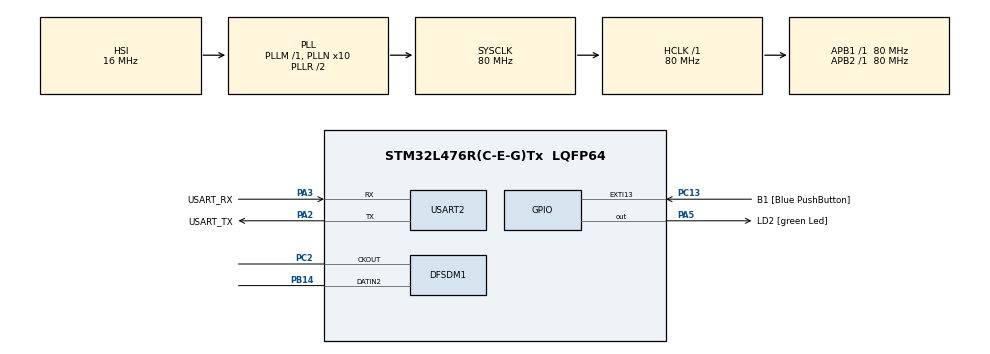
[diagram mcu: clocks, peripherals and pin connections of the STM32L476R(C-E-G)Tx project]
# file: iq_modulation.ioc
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DFSDM1.Divider=25
DFSDM1.DmaMode_reg_FIL0=ENABLE
DFSDM1.FastMode_reg_FIL0=ENABLE
DFSDM1.Filter_regChannel_FIL0=DFSDM_CHANNEL_2
DFSDM1.Filter_regChannel_FIL1=__NULL
DFSDM1.Filter_regChannel_FIL2=__NULL
DFSDM1.Fosr_FIL0=32
DFSDM1.Iosr_FIL0=1
DFSDM1.Offset_CH2=0
DFSDM1.Oversampling_CH2=10
DFSDM1.RightBitShift_CH2=0x2
DFSDM1.SincOrder_FIL0=DFSDM_FILTER_SINC5_ORDER
Dma.DFSDM1_FLT0.0.Direction=DMA_PERIPH_TO_MEMORY
Dma.DFSDM1_FLT0.0.Instance=DMA1_Channel4
Dma.DFSDM1_FLT0.0.MemDataAlignment=DMA_MDATAALIGN_WORD
Dma.DFSDM1_FLT0.0.MemInc=DMA_MINC_ENABLE
Dma.DFSDM1_FLT0.0.Mode=DMA_CIRCULAR
Dma.DFSDM1_FLT0.0.PeriphDataAlignment=DMA_PDATAALIGN_WORD
Dma.DFSDM1_FLT0.0.PeriphInc=DMA_PINC_DISABLE
Dma.DFSDM1_FLT0.0.Priority=DMA_PRIORITY_MEDIUM
Dma.Request0=DFSDM1_FLT0
Mcu.Family=STM32L4
Mcu.Name=STM32L476R(C-E-G)Tx
Mcu.Package=LQFP64
NVIC.DMA1_Channel4_IRQn=true\:0\:0\:true\:false\:true\:false
NVIC.EXTI15_10_IRQn=true\:0\:0\:false\:false\:true\:true
NVIC.PriorityGroup=NVIC_PRIORITYGROUP_4
NVIC.USART2_IRQn=true\:0\:0\:false\:false\:true\:true
PA13\ (JTMS-SWDIO).GPIO_Label=TMS
PA13\ (JTMS-SWDIO).Mode=Serial_Wire
PA13\ (JTMS-SWDIO).Signal=SYS_JTMS-SWDIO
PA14\ (JTCK-SWCLK).GPIO_Label=TCK
PA14\ (JTCK-SWCLK).Mode=Serial_Wire
PA14\ (JTCK-SWCLK).Signal=SYS_JTCK-SWCLK
PA2.GPIO_Label=USART_TX
PA2.GPIO_Mode=GPIO_MODE_AF_PP
PA2.GPIO_PuPd=GPIO_NOPULL
PA2.GPIO_Speed=GPIO_SPEED_FREQ_VERY_HIGH
PA2.Mode=Asynchronous
PA2.Signal=USART2_TX
PA3.GPIO_Label=USART_RX
PA3.GPIO_Mode=GPIO_MODE_AF_PP
PA3.GPIO_PuPd=GPIO_NOPULL
PA3.GPIO_Speed=GPIO_SPEED_FREQ_VERY_HIGH
PA3.Mode=Asynchronous
PA3.Signal=USART2_RX
PA5.GPIO_Label=LD2 [green Led]
PA5.GPIO_ModeDefaultOutputPP=GPIO_MODE_OUTPUT_PP
PA5.GPIO_PuPd=GPIO_NOPULL
PA5.GPIO_Speed=GPIO_SPEED_FREQ_LOW
PA5.Signal=GPIO_Output
PB14.Signal=S_DATAIN2DFSDM1
PB3\ (JTDO-TRACESWO).GPIO_Label=SWO
PB3\ (JTDO-TRACESWO).Signal=SYS_JTDO-SWO
PC13.GPIO_Label=B1 [Blue PushButton]
PC13.GPIO_ModeDefaultEXTI=GPIO_MODE_IT_FALLING
PC13.GPIO_PuPd=GPIO_NOPULL
PC13.Signal=GPXTI13
PC2.Signal=S_CKOUTDFSDM1
ProjectManager.HeapSize=0x200
ProjectManager.StackSize=0x400
ProjectManager.TargetToolchain=TrueSTUDIO
RCC.ADCFreq_Value=64000000
RCC.AHBFreq_Value=80000000
RCC.APB1Freq_Value=80000000
RCC.APB1TimFreq_Value=80000000
RCC.APB2Freq_Value=80000000
RCC.APB2TimFreq_Value=80000000
RCC.CortexFreq_Value=80000000
RCC.HCLKFreq_Value=80000000
RCC.HSE_VALUE=8000000
RCC.HSI_VALUE=16000000
RCC.LSE_VALUE=32768
RCC.MSI_VALUE=4000000
RCC.PLLN=10
RCC.PLLSourceVirtual=RCC_PLLSOURCE_HSI
RCC.PREFETCH_ENABLE=1
RCC.SYSCLKFreq_VALUE=80000000
RCC.SYSCLKSource=RCC_SYSCLKSOURCE_PLLCLK
RCC.USBFreq_Value=64000000
RCC.VCOOutputFreq_Value=160000000
SH.S_CKOUTDFSDM1.0=DFSDM1_CKOUT,PDM_SPI_input_from_ch2_and_internal_clock
SH.S_CKOUTDFSDM1.1=DFSDM1_CKOUT,CKOUT
SH.S_DATAIN2DFSDM1.0=DFSDM1_DATIN2,PDM_SPI_input_from_ch2_and_internal_clock
USART2.VirtualMode-Asynchronous=VM_ASYNC
USART2.WordLength=WORDLENGTH_8B
board=NUCLEO-L476RG

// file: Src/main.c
/**
  ******************************************************************************
  * @file           : main.c
  * @brief          : Main program body
  ******************************************************************************
  ** This notice applies to any and all portions of this file
  * that are not between comment pairs USER CODE BEGIN and
  * USER CODE END. Other portions of this file, whether
  * inserted by the user or by software development tools
  * are owned by their respective copyright owners.
  *
  * COPYRIGHT(c) 2018 STMicroelectronics
  *
  * Redistribution and use in source and binary forms, with or without modification,
  * are permitted provided that the following conditions are met:
  *   1. Redistributions of source code must retain the above copyright notice,
  *      this list of conditions and the following disclaimer.
  *   2. Redistributions in binary form must reproduce the above copyright notice,
  *      this list of conditions and the following disclaimer in the documentation
  *      and/or other materials provided with the distribution.
  *   3. Neither the name of STMicroelectronics nor the names of its contributors
  *      may be used to endorse or promote products derived from this software
  *      without specific prior written permission.
  *
  * THIS SOFTWARE IS PROVIDED BY THE COPYRIGHT HOLDERS AND CONTRIBUTORS "AS IS"
  * AND ANY EXPRESS OR IMPLIED WARRANTIES, INCLUDING, BUT NOT LIMITED TO, THE
  * IMPLIED WARRANTIES OF MERCHANTABILITY AND FITNESS FOR A PARTICULAR PURPOSE ARE
  * DISCLAIMED. IN NO EVENT SHALL THE COPYRIGHT HOLDER OR CONTRIBUTORS BE LIABLE
  * FOR ANY DIRECT, INDIRECT, INCIDENTAL, SPECIAL, EXEMPLARY, OR CONSEQUENTIAL
  * DAMAGES (INCLUDING, BUT NOT LIMITED TO, PROCUREMENT OF SUBSTITUTE GOODS OR
  * SERVICES; LOSS OF USE, DATA, OR PROFITS; OR BUSINESS INTERRUPTION) HOWEVER
  * CAUSED AND ON ANY THEORY OF LIABILITY, WHETHER IN CONTRACT, STRICT LIABILITY,
  * OR TORT (INCLUDING NEGLIGENCE OR OTHERWISE) ARISING IN ANY WAY OUT OF THE USE
  * OF THIS SOFTWARE, EVEN IF ADVISED OF THE POSSIBILITY OF SUCH DAMAGE.
  *
  ******************************************************************************
  */
#include "main.h"
#include "stm32l4xx_hal.h"
#include "dfsdm.h"
#include "dma.h"
#include "usart.h"
#include "gpio.h"

/* USER CODE BEGIN Includes */
#include "math.h"
#include "stdbool.h"
#include "arm_math.h"
#include "arm_const_structs.h"
#include "chirp.h"
/* USER CODE END Includes */

/* USER CODE BEGIN PV */
/* Private variables ---------------------------------------------------------*/

// flag: "new PCM data has just been copied to buf"
bool new_pcm_data = false;

// Audio sample rate and period
float sampling_rate;
float sampling_period;

// DMA peripheral to memory buffer
int32_t buf[PCM_SAMPLES] = { 0 };

// PCM data store for further processing (FFT)
float pcm[PCM_SAMPLES * 2] = { 0.0f };

// FFT-related
float fft_window[PCM_SAMPLES * 2] = { 0.0f };
const float WINDOW_SCALE = 2.0f * M_PI / (float) PCM_SAMPLES;

// UART output flag
bool output_result = false;

// UART input/output
uint8_t rxbuf[1];
bool all_data = true;

// Stats
struct history {
  float mag_max;  // Max magnitude in the bandwidth
  float mag_max_left;  // Max magnitude in the left
  float mag_max_right;  // Max magnitude in the right
  uint32_t max_freq;  // Frequency at max magnitude in the bandwidth
  uint32_t max_freq_left;   // Frequency at max magnitude in the left
  uint32_t max_freq_right;  // Frequency at max magnitude in the right
  uint32_t start_time;   // DSP start time
  uint32_t finish_time;  // DSP finish time
  float mag_mean;  // Mean magnitude in the past
  float snr;  // S/N Ratio
  char rank;  // Magnitude ranking
};

/* USER CODE END PV */

void SystemClock_Config(void);

/* USER CODE BEGIN PFP */
/* Private function prototypes -----------------------------------------------*/

/* USER CODE END PFP */

/* USER CODE BEGIN 0 */

uint32_t idx2freq(uint32_t idx) {
  return sampling_rate * idx / PCM_SAMPLES;
}

// Digital signal processing
void dsp(float *inout) {

  // Execute real up-chirp w/ real noise * complex down-chirp
  mult_ref_chirp(inout);

  // Windowing
  arm_mult_f32(inout, fft_window, inout, PCM_SAMPLES * 2);

  // Execute complex FFT
  arm_cfft_f32(&arm_cfft_sR_f32_len2048, inout, 0, 1);

  // Calculate magnitude
  arm_cmplx_mag_f32(inout, inout, PCM_SAMPLES / 2);

}
/* USER CODE END 0 */

int main(void)
{
  /* USER CODE BEGIN 1 */
  int im, re;
  int j = 0;
  int turn = 0;
  int offset, shift;

  float32_t data[PCM_SAMPLES * 2] = { 0.0f };

  // Stats-related
  struct history history[8];
  struct history *phist;
  uint32_t center;
  uint32_t bandwidth;
  uint32_t bandwidth2;
  uint32_t bandwidth4;
  uint32_t idx_left_zero;
  float mag_stat[12] = { 1E37, 1E37, 1E37, 1E37, 1E37, 1E37, 1E37, 1E37, 1E37, 1E37, 1E37, 1E37 };
  float mag_max;
  float mag_mean;
  float mag_max_max;
  float mag_max_left;
  float mag_max_right;
  uint32_t max_idx;
  uint32_t max_idx_left;
  uint32_t max_idx_right;

  // State machine
  enum state {
    IDLE,
    SYNCHRONIZING,
    SYNCHRONIZED,
    DATA_RECEIVING
  };
  enum state state_machine = IDLE;

  // Frame synchronization
  int sync_cnt = 0;
  int sync_position = 0;

  /* USER CODE END 1 */

  /* MCU Configuration----------------------------------------------------------*/

  /* Reset of all peripherals, Initializes the Flash interface and the Systick. */
  HAL_Init();

  /* Configure the system clock */
  SystemClock_Config();

  /* Initialize all configured peripherals */
  MX_GPIO_Init();
  MX_DMA_Init();
  MX_USART2_UART_Init();
  MX_DFSDM1_Init();
  /* USER CODE BEGIN 2 */

  // FFT sampling rate
  sampling_rate = SystemCoreClock / hdfsdm1_channel2.Init.OutputClock.Divider
      / hdfsdm1_filter0.Init.FilterParam.Oversampling
      / hdfsdm1_filter0.Init.FilterParam.IntOversampling;

  // Statistics-related
  center = (F1 + F2) * PCM_SAMPLES / sampling_rate;
  bandwidth = (F2 - F1) * PCM_SAMPLES / sampling_rate;
  bandwidth2 = bandwidth * 2;
  bandwidth4 = bandwidth * 4;
  idx_left_zero = center - bandwidth2;

  // Initialize reference chirp signal
  init_ref_chirp(sampling_rate);

  // Enable UART receive interrupt
  HAL_UART_Receive_IT(&huart2, rxbuf, 1);

  // Enable DMA from DFSDM to buf (peripheral to memory)
  if (HAL_DFSDM_FilterRegularStart_DMA(&hdfsdm1_filter0, buf, PCM_SAMPLES)
      != HAL_OK) {
    Error_Handler();
  }

  // Hanning window
  for (uint32_t i = 0; i < PCM_SAMPLES; i++) {
    re = i * 2;
    im = re + 1;
    fft_window[re] = 0.5f - 0.5f * arm_cos_f32((float) i * WINDOW_SCALE);
    fft_window[im] = fft_window[re];
  }

  // Show starting message
  printf("/// Receiver ///\n\n");
  printf("Sampling rate: %4.1f(kHz)\n", (float) sampling_rate / 1000.0f);
  sampling_period = 1.0f / sampling_rate * PCM_SAMPLES;
  printf("Sampling period: %.1f(msec), Samples per period: %ld\n\n",
      sampling_period * 1000.0f, PCM_SAMPLES);
  printf("Push USER button to output single-shot FFT\n");
  /* USER CODE END 2 */

  /* Infinite loop */
  /* USER CODE BEGIN WHILE */
  offset = PCM_SAMPLES / 8;
  shift = PCM_SAMPLES / 4;

  while (1) {

    HAL_Delay(1);

    // Wait for next PCM samples from DFSDM (MEMS mic)
    if (new_pcm_data) {

      // Mean magnitude (four-time-frame before)
      if (state_machine == IDLE) arm_mean_f32(&mag_stat[4], 8, &mag_mean);

      // Execute FFT four times per time frame (every 20.5msec)
      for (uint32_t i = 0; i < 4; i++) {

        sync_position = turn * offset + shift * i;

        //*** DSP START ********

        uint32_t start_time = HAL_GetTick();

        // Copy PCM data to input/output buffer for DSP
        for (uint32_t j = 0; j < PCM_SAMPLES; j++) {
          data[j] = pcm[j + sync_position];
        }

        // Digital signal processing
        dsp(data);

        // Calculate indexes of max magnitudes
        arm_max_f32(&data[idx_left_zero], bandwidth4, &mag_max, &max_idx);
        arm_max_f32(&data[idx_left_zero], bandwidth2, &mag_max_left, &max_idx_left);
        arm_max_f32(&data[center], bandwidth2, &mag_max_right, &max_idx_right);

        uint32_t finish_time = HAL_GetTick();

        //*** DSP END *********

        // Stats
        int idx = i * 2 + turn;  // Stats index
        phist = &history[idx];
        phist->mag_max = mag_max;
        phist->mag_max_left = mag_max_left;
        phist->mag_max_right = mag_max_right;
        phist->max_freq = idx2freq(idx_left_zero + max_idx);
        phist->max_freq_left = idx2freq(idx_left_zero + max_idx_left);
        phist->max_freq_right = idx2freq(center + max_idx_right);
        phist->start_time = start_time;
        phist->finish_time = finish_time;
        phist->mag_mean = mag_mean;
        phist->snr = (mag_max - mag_mean)/mag_mean;

      }

      turn = (turn == 0)? 1: 0;

      if (turn == 1) {

        // Find max magnitude in the history
        for (int i = 0; i < 11; i++) {
          mag_stat[i + 1] = mag_stat[i];
        }
        for (int i = 0; i < 8; i++) {
          history[j].rank='-';
          mag_max = history[i].mag_max;
          if (mag_max > mag_max_max) {
              mag_max_max = mag_max;
              j = i;
          }
        }
        mag_stat[0] = mag_max_max;
        history[j].rank='+';
        mag_max_max = 0.0f;

        // S/N Ratio
        float snr = (mag_max_max - mag_mean)/ mag_mean;

        // State machine
        switch (state_machine) {
        case IDLE:
          if (snr >= SNR_THRESHOLD) {
            state_machine = SYNCHRONIZING;
            sync_cnt++;
          }
          break;
        case SYNCHRONIZING:
          if (snr < SNR_THRESHOLD) {
            state_machine = IDLE;
            sync_cnt = 0;
          } else {
            sync_cnt++;
          }
          if (sync_cnt >= 3) {
            state_machine = SYNCHRONIZED;
            sync_position = j;
          }
          break;
        case SYNCHRONIZED:
          if (snr < SNR_THRESHOLD) {
            state_machine = IDLE;
            sync_cnt = 0;
          }
          break;
        default:
          break;
        }
      }

      if (output_result && turn == 1) {  // Output debug info

        printf("\nstate: %d\n", state_machine);
        printf("rank,nmax_freq,max_freq_left,max_freq_right,start_time,finish_time,max,max_right,max_left,mag_mean,snr\n");
        for (int i = 0; i < 8; i++) {
          printf("%c,%lu,%lu,%lu,%lu,%lu,%.1f,%.1f,%.1f,%.1f,%.1f\n",
              history[i].rank,
              history[i].max_freq, history[i].max_freq_left, history[i].max_freq_right,
              history[i].start_time, history[i].finish_time,
              history[i].mag_max, history[i].mag_max_left, history[i].mag_max_right,
              history[i].mag_mean, history[i].snr);
        }

        if (all_data) {
          printf("index,Magnitude\n");
          // FFT
          for (uint32_t i = 0; i < PCM_SAMPLES / 2; i++) {
            printf("%lu,%e\n", i, data[i]);
          }
          printf("EOF\n");
        }

        // Filtered PCM data (e.g., Hanning Window)
        HAL_GPIO_WritePin(LD2_GPIO_Port, LD2_Pin, GPIO_PIN_RESET);
        output_result = false;
      }

      new_pcm_data = false;

    }
  /* USER CODE END WHILE */

  }

}

void SystemClock_Config(void)
{

  RCC_OscInitTypeDef RCC_OscInitStruct;
  RCC_ClkInitTypeDef RCC_ClkInitStruct;
  RCC_PeriphCLKInitTypeDef PeriphClkInit;

    /**Initializes the CPU, AHB and APB busses clocks
    */
  RCC_OscInitStruct.OscillatorType = RCC_OSCILLATORTYPE_HSI;
  RCC_OscInitStruct.HSIState = RCC_HSI_ON;
  RCC_OscInitStruct.HSICalibrationValue = 16;
  RCC_OscInitStruct.PLL.PLLState = RCC_PLL_ON;
  RCC_OscInitStruct.PLL.PLLSource = RCC_PLLSOURCE_HSI;
  RCC_OscInitStruct.PLL.PLLM = 1;
  RCC_OscInitStruct.PLL.PLLN = 10;
  RCC_OscInitStruct.PLL.PLLP = RCC_PLLP_DIV7;
  RCC_OscInitStruct.PLL.PLLQ = RCC_PLLQ_DIV2;
  RCC_OscInitStruct.PLL.PLLR = RCC_PLLR_DIV2;
  if (HAL_RCC_OscConfig(&RCC_OscInitStruct) != HAL_OK)
  {
    _Error_Handler(__FILE__, __LINE__);
  }

    /**Initializes the CPU, AHB and APB busses clocks
    */
  RCC_ClkInitStruct.ClockType = RCC_CLOCKTYPE_HCLK|RCC_CLOCKTYPE_SYSCLK
                              |RCC_CLOCKTYPE_PCLK1|RCC_CLOCKTYPE_PCLK2;
  RCC_ClkInitStruct.SYSCLKSource = RCC_SYSCLKSOURCE_PLLCLK;
  RCC_ClkInitStruct.AHBCLKDivider = RCC_SYSCLK_DIV1;
  RCC_ClkInitStruct.APB1CLKDivider = RCC_HCLK_DIV1;
  RCC_ClkInitStruct.APB2CLKDivider = RCC_HCLK_DIV1;

  if (HAL_RCC_ClockConfig(&RCC_ClkInitStruct, FLASH_LATENCY_4) != HAL_OK)
  {
    _Error_Handler(__FILE__, __LINE__);
  }

  PeriphClkInit.PeriphClockSelection = RCC_PERIPHCLK_USART2|RCC_PERIPHCLK_DFSDM1;
  PeriphClkInit.Usart2ClockSelection = RCC_USART2CLKSOURCE_PCLK1;
  PeriphClkInit.Dfsdm1ClockSelection = RCC_DFSDM1CLKSOURCE_PCLK;
  if (HAL_RCCEx_PeriphCLKConfig(&PeriphClkInit) != HAL_OK)
  {
    _Error_Handler(__FILE__, __LINE__);
  }

    /**Configure the main internal regulator output voltage
    */
  if (HAL_PWREx_ControlVoltageScaling(PWR_REGULATOR_VOLTAGE_SCALE1) != HAL_OK)
  {
    _Error_Handler(__FILE__, __LINE__);
  }

    /**Configure the Systick interrupt time
    */
  HAL_SYSTICK_Config(HAL_RCC_GetHCLKFreq()/1000);

    /**Configure the Systick
    */
  HAL_SYSTICK_CLKSourceConfig(SYSTICK_CLKSOURCE_HCLK);

  /* SysTick_IRQn interrupt configuration */
  HAL_NVIC_SetPriority(SysTick_IRQn, 0, 0);
}

/* USER CODE BEGIN 4 */

/**
 * @brief  Half regular conversion complete callback.
 * @param  hdfsdm_filter : DFSDM filter handle.
 * @retval None
 */
void HAL_DFSDM_FilterRegConvHalfCpltCallback(
    DFSDM_Filter_HandleTypeDef *hdfsdm_filter) {

}

/**
 * @brief  Regular conversion complete callback.
 * @note   In interrupt mode, user has to read conversion value in this function
 using HAL_DFSDM_FilterGetRegularValue.
 * @param  hdfsdm_filter : DFSDM filter handle.
 * @retval None
 */
void HAL_DFSDM_FilterRegConvCpltCallback(
    DFSDM_Filter_HandleTypeDef *hdfsdm_filter) {
  if (!new_pcm_data && (hdfsdm_filter == &hdfsdm1_filter0)) {
    arm_copy_f32(&pcm[PCM_SAMPLES], pcm, PCM_SAMPLES);
    for (uint32_t i = 0; i < PCM_SAMPLES; i++) {
      pcm[i + PCM_SAMPLES] = (float) buf[i];
    }
    new_pcm_data = true;
  }
}

/**
 * @brief  Retargets the C library printf function to the USART.
 * @param  None
 * @retval None
 */
int _write(int file, char *ptr, int len) {
  HAL_UART_Transmit(&huart2, (uint8_t *) ptr, (uint16_t) len, 0xFFFFFFFF);
  return len;
}

/**
 * @brief  GPIO External Interrupt callback
 * @param  GPIO_Pin
 * @retval None
 */
void HAL_GPIO_EXTI_Callback(uint16_t GPIO_Pin) {
  if (GPIO_Pin == GPIO_PIN_13) {  // User button (blue tactile switch)
    HAL_GPIO_WritePin(LD2_GPIO_Port, LD2_Pin, GPIO_PIN_SET);
    output_result = true;
  }
}

void HAL_UART_RxCpltCallback(UART_HandleTypeDef *huart) {

  switch(rxbuf[0]) {
  case '1':
    all_data = true;
    break;
  case '2':
    all_data = true;
    break;
  case '3':
    all_data = false;
    break;
  }

  output_result = true;

  HAL_GPIO_WritePin(LD2_GPIO_Port, LD2_Pin, GPIO_PIN_SET);
  HAL_UART_Receive_IT(&huart2, rxbuf, 1);
}
/* USER CODE END 4 */

void _Error_Handler(char *file, int line)
{
  /* USER CODE BEGIN Error_Handler_Debug */
  printf("Error! Line = %d\n", line);
  /* User can add his own implementation to report the HAL error return state */
  while (1) {
  }
  /* USER CODE END Error_Handler_Debug */
}

/************************ (C) COPYRIGHT STMicroelectronics *****END OF FILE****/
